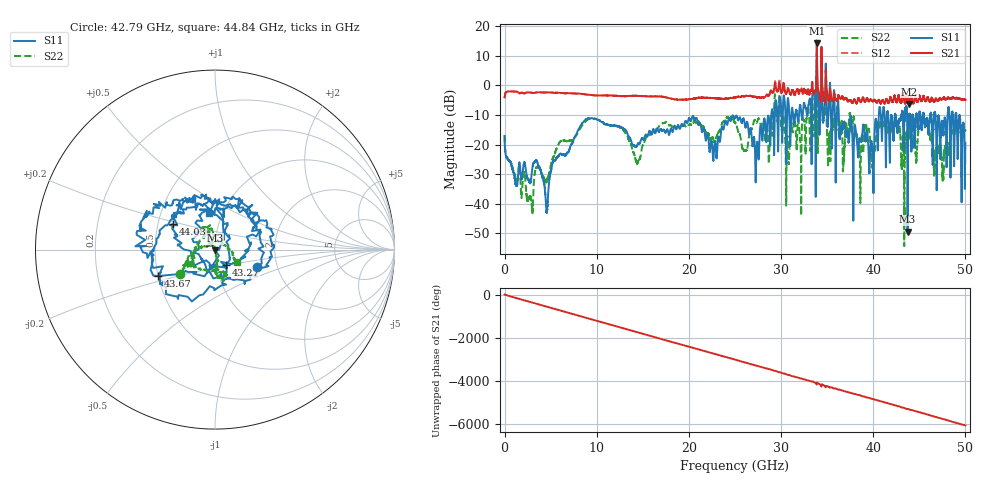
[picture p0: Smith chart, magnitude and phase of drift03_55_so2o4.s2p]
!Created with skrf (http://scikit-rf.org).
# Hz S RI R 50.0
!freq ReS11 ImS11 ReS21 ImS21 ReS12 ImS12 ReS22 ImS22
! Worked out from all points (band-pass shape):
!   10001 points, 300 kHz to 50 GHz, reference 50 ohm
!   highest |S21| = 14.33 dB at 33.88 GHz (marker M1); lowest = -6.2 dB at 43.9 GHz (marker M2)
!   |S21| within 3 dB of the highest: 33.86887 GHz to 33.88839 GHz (19.52 MHz wide, 0.0576 % of centre); 34.3766 GHz to 34.38882 GHz (12.22 MHz wide, 0.0355 % of centre)
!   lowest |S11| = -49.6 dB at 43.73 GHz (marker M3), VSWR 1.01, Z = 50 - j0.333 ohm
!   |S11| at or under -10 dB: start of sweep to 28.94 GHz; 36.27 GHz to 40.6 GHz (4.339 GHz wide, 11.3 % of centre); 46.74 GHz to 48.08 GHz (1.334 GHz wide, 2.81 % of centre) (the widest 3 of 55)
!   |S22| runs from -54.4 to 11.1 dB; largest |S21 - S12| = 0.82
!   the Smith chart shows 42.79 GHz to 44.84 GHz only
!   S11 on the Smith chart (normalised r, x): 42.79 GHz: 1.56, -0.32; 43.27 GHz: 1.12, -0.19; 43.67 GHz: 0.50, -0.17; 44.03 GHz: 0.60, +0.18; 44.84 GHz: 0.86, +0.37
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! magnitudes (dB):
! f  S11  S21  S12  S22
! 300 kHz  -17.1  -4.0  -4.0  -16.8
! 2.82 GHz  -32.7  -2.4  -2.4  -38.0
! 4.555 GHz  -43.0  -2.3  -2.3  -32.3
! 8.335 GHz  -13.1  -2.8  -2.8  -13.9
! 14.44 GHz  -19.9  -3.5  -3.5  -26.1
! 16.67 GHz  -15.4  -3.7  -3.7  -14.3
! 25 GHz  -11.0  -4.0  -4.0  -12.5
! 27.39 GHz  -19.4  -4.1  -4.1  -12.4
! 29.6 GHz  -10.4  -2.0  -2.1  -11.6
! 30.7 GHz  -5.6  -1.4  -1.4  -17.2
! 33.34 GHz  -13.7  -0.5  -0.5  -7.1
! 33.88 GHz  15.3  14.3  14.0  10.9
! 39.81 GHz  -19.1  -4.9  -4.8  -23.2
! 41.67 GHz  -12.1  -5.9  -5.9  -15.1
! 42.79 GHz  -12.0  -3.5  -3.5  -12.5
! 43.27 GHz  -19.5  -3.5  -3.6  -19.8
! 43.67 GHz  -9.2  -3.2  -3.1  -15.2
! 43.73 GHz  -49.6  -4.3  -4.1  -17.8
! 43.9 GHz  -9.8  -6.2  -6.2  -16.9
! 44.03 GHz  -11.2  -4.9  -4.9  -15.2
! 44.84 GHz  -13.7  -5.4  -5.5  -17.1
! 50 GHz  -19.4  -4.9  -4.9  -15.2
